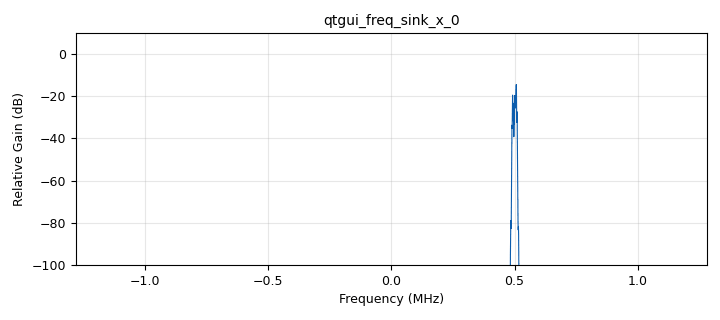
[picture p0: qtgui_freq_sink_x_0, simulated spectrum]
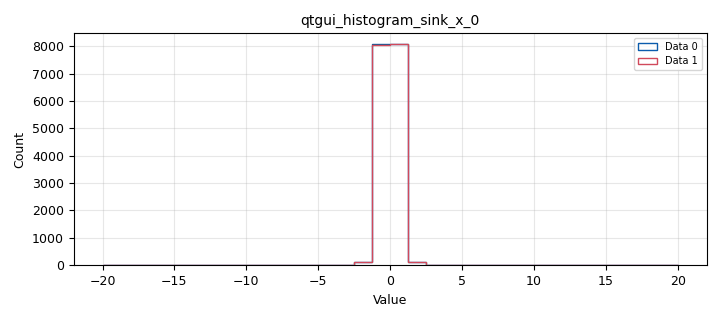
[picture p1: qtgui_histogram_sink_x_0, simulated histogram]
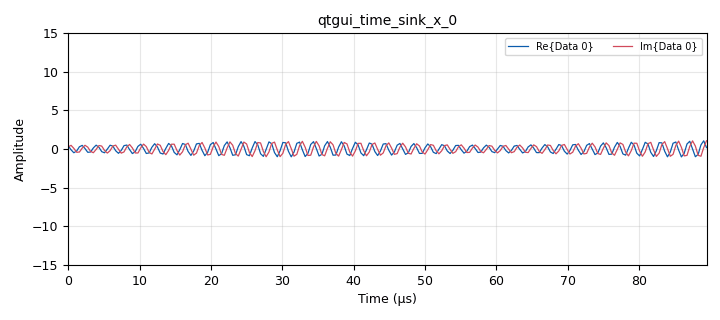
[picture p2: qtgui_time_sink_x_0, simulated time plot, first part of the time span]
options:
  parameters:
    generate_options: qt_gui
    id: generate_rfbb
    output_language: python
    title: Not titled yet
  states: {}

blocks:
- name: channel_rate
  id: variable
  parameters:
    value: '80000'
  states: {}
- name: freq_offset_khz
  id: variable_qtgui_entry
  parameters:
    gui_hint: '[1,1]'
    label: Baseband offset [kHz]
    type: real
    value: '-500'
  states: {}
- name: interpolation
  id: variable
  parameters:
    value: '32'
  states: {}
- name: pluto_tx_attenuation
  id: variable_qtgui_range
  parameters:
    start: '10'
    step: '1'
    stop: '100'
    value: '50'
  states: {}
- name: symbol_rate
  id: variable
  parameters:
    value: '18000'
  states: {}
- name: analog_random_source_x_0
  id: analog_random_source_x
  parameters:
    max: '4'
    min: '0'
    num_samps: '3072'
    repeat: 'True'
    type: byte
  states: {}
- name: analog_sig_source_x_0
  id: analog_sig_source_x
  parameters:
    amp: '1'
    freq: '500000'
    offset: '0'
    phase: '0'
    samp_rate: channel_rate*interpolation
    type: complex
    waveform: analog.GR_COS_WAVE
  states: {}
- name: blocks_complex_to_float_0
  id: blocks_complex_to_float
  parameters: {}
  states: {}
- name: blocks_multiply_xx_0
  id: blocks_multiply_xx
  parameters:
    type: complex
  states: {}
- name: blocks_throttle2_0
  id: blocks_throttle2
  parameters:
    samples_per_second: channel_rate*interpolation
    type: complex
  states: {}
- name: epy_block_1
  id: epy_block
  parameters:
    _source_code: |
      """
      tetra_pi4dqpsk Mapper - Embedded Python Blocks
      input:  dibit stream (02 bits per byte) at 18kdibit
      output: iq complex signal at 36ksps
      """

      import numpy as np
      from gnuradio import gr

      class Pi4DQPSK(gr.interp_block):
          # Create our raised-cosine filter
          num_taps = 11 * 2 + 1
          beta = 0.35
          Ts = 2
          t = np.arange(num_taps) - (num_taps-1) // 2
          h = np.sinc(t/Ts) * np.cos(np.pi*beta*t/Ts) / (1 - (2*beta*t/Ts)**2)
          preConvI = np.array([0] * 22, dtype = 'float32')
          preConvQ = np.array([0] * 22, dtype = 'float32')
          
          def __init__(self,):
              gr.interp_block.__init__(
                  self,
                  name='Pi4DQPSK 18kDibit-to-36kIQk',   	# will show up in GRC
                  in_sig=[np.uint8,],
                  out_sig=[np.complex64], interp = 2
              )
              self.interp = 2        
              self.cur_phase_index = 	0				# current phase index value S(0) = 1
              
          def work(self, input_items, output_items):
              # Phase Index Change Table: corresponding to current phase (row 0-7) and current dibit value (column 0-3)
              # B2k_1,B2k:   00 01 10 11
                  
              phase_shift = (1, 3, 7, 5)

              # Phase value corresponding to Phase Index
              IQ_table = (( np.cos(np.pi/4 * 0) , np.sin(np.pi/4 * 0) ),
                          ( np.cos(np.pi/4 * 1) , np.sin(np.pi/4 * 1) ),
                          ( np.cos(np.pi/4 * 2) , np.sin(np.pi/4 * 2) ),
                          ( np.cos(np.pi/4 * 3) , np.sin(np.pi/4 * 3) ),
                          ( np.cos(np.pi/4 * 4) , np.sin(np.pi/4 * 4) ),
                          ( np.cos(np.pi/4 * 5) , np.sin(np.pi/4 * 5) ),
                          ( np.cos(np.pi/4 * 6) , np.sin(np.pi/4 * 6) ),
                          ( np.cos(np.pi/4 * 7) , np.sin(np.pi/4 * 7) ))

              # perform rrc filter
              tempI = np.array([0] * (len(input_items[0]) * 2), dtype='float32') # 22 = rrc_taps - 1
              tempQ = np.array([0] * (len(input_items[0]) * 2), dtype='float32') # 22 = rrc_taps - 1

              for i in range (0,len(input_items[0])):
                  input_dibit = input_items[0][i]
                      
                  self.cur_phase_index += phase_shift[ input_dibit ]
                  if self.cur_phase_index >= 8:
                      self.cur_phase_index -= 8

                  tempI[i*2] = IQ_table[ self.cur_phase_index ][0]
                  tempQ[i*2] = IQ_table[ self.cur_phase_index ][1]

              tempIconvolved = np.convolve(tempI, Pi4DQPSK.h) 
              tempQconvolved = np.convolve(tempQ, Pi4DQPSK.h)
              
              for i in range(len(Pi4DQPSK.h)-1):
                  tempIconvolved[i] += Pi4DQPSK.preConvI[i]
                  tempQconvolved[i] += Pi4DQPSK.preConvQ[i]

              for i in range(len(Pi4DQPSK.h)-1):
                  Pi4DQPSK.preConvI[-i-1] = tempIconvolved[-i-1]
                  Pi4DQPSK.preConvQ[-i-1] = tempQconvolved[-i-1]
              for i in range(len(input_items[0])*2):
                  output_items[0][i] = tempIconvolved [i] + 1j*tempQconvolved[i]
                                         
              return len(output_items[0])
  states: {}
- name: freq_xlating_fir_filter_xxx_0
  id: freq_xlating_fir_filter_xxx
  parameters:
    center_freq: freq_offset_khz*1e3
    decim: '1'
    samp_rate: channel_rate*interpolation
    taps: firdes.low_pass(1,2*symbol_rate,12500,12500*0.2)
    type: ccc
  states: {state: disabled}
- name: iio_pluto_sink_0
  id: iio_pluto_sink
  parameters:
    attenuation1: pluto_tx_attenuation
    bandwidth: '1000000'
    buffer_size: '32768'
    cyclic: 'False'
    filter_source: '''Auto'''
    frequency: '391250000'
    samplerate: channel_rate*interpolation
    type: fc32
  states: {}
- name: low_pass_filter_0
  id: low_pass_filter
  parameters:
    cutoff_freq: '1280000'
    decim: '1'
    gain: '1'
    samp_rate: channel_rate*interpolation
    type: fir_filter_ccf
    width: '300000'
    win: window.WIN_HAMMING
  states: {state: bypassed}
- name: qtgui_freq_sink_x_0
  id: qtgui_freq_sink_x
  parameters:
    bw: channel_rate*interpolation
    fc: '0'
    fftsize: 2048*2
    type: complex
    ymin: '-100'
  states: {}
- name: qtgui_histogram_sink_x_0
  id: qtgui_histogram_sink_x
  parameters:
    bins: '32'
    nconnections: '2'
    size: 1024*16
    type: float
    xmax: '20'
    xmin: '-20'
  states: {}
- name: qtgui_time_sink_x_0
  id: qtgui_time_sink_x
  parameters:
    size: 1024*16
    srate: channel_rate*interpolation
    type: complex
    ymax: '15'
    ymin: '-15'
  states: {}
- name: rational_resampler_xxx_0
  id: rational_resampler_xxx
  parameters:
    decim: '9'
    interp: interpolation*20
    taps: ''
    type: ccc
  states: {}

connections:
- [analog_random_source_x_0, '0', epy_block_1, '0']
- [analog_sig_source_x_0, '0', blocks_multiply_xx_0, '0']
- [blocks_complex_to_float_0, '0', qtgui_histogram_sink_x_0, '0']
- [blocks_complex_to_float_0, '1', qtgui_histogram_sink_x_0, '1']
- [blocks_multiply_xx_0, '0', blocks_throttle2_0, '0']
- [blocks_throttle2_0, '0', blocks_complex_to_float_0, '0']
- [blocks_throttle2_0, '0', low_pass_filter_0, '0']
- [blocks_throttle2_0, '0', qtgui_freq_sink_x_0, '0']
- [blocks_throttle2_0, '0', qtgui_time_sink_x_0, '0']
- [epy_block_1, '0', rational_resampler_xxx_0, '0']
- [freq_xlating_fir_filter_xxx_0, '0', blocks_throttle2_0, '0']
- [low_pass_filter_0, '0', iio_pluto_sink_0, '0']
- [rational_resampler_xxx_0, '0', blocks_multiply_xx_0, '1']
- [rational_resampler_xxx_0, '0', freq_xlating_fir_filter_xxx_0, '0']

metadata:
  file_format: 1
  grc_version: 3.10.10.0
